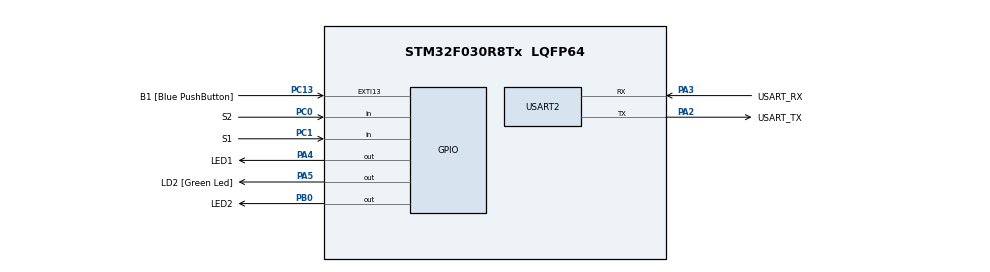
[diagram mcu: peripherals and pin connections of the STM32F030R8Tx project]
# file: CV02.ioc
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Mcu.Family=STM32F0
Mcu.Name=STM32F030R8Tx
Mcu.Package=LQFP64
PA13.GPIO_Label=TMS
PA13.Mode=Serial_Wire
PA13.Signal=SYS_SWDIO
PA14.GPIO_Label=TCK
PA14.Mode=Serial_Wire
PA14.Signal=SYS_SWCLK
PA2.GPIO_Label=USART_TX
PA2.GPIO_Mode=GPIO_MODE_AF_PP
PA2.GPIO_PuPd=GPIO_NOPULL
PA2.GPIO_Speed=GPIO_SPEED_FREQ_LOW
PA2.Mode=Asynchronous
PA2.Signal=USART2_TX
PA3.GPIO_Label=USART_RX
PA3.GPIO_Mode=GPIO_MODE_AF_PP
PA3.GPIO_PuPd=GPIO_NOPULL
PA3.GPIO_Speed=GPIO_SPEED_FREQ_LOW
PA3.Mode=Asynchronous
PA3.Signal=USART2_RX
PA4.GPIO_Label=LED1
PA4.Signal=GPIO_Output
PA5.GPIO_Label=LD2 [Green Led]
PA5.GPIO_Mode=GPIO_MODE_OUTPUT_PP
PA5.GPIO_PuPd=GPIO_NOPULL
PA5.GPIO_Speed=GPIO_SPEED_FREQ_LOW
PA5.Signal=GPIO_Output
PB0.GPIO_Label=LED2
PB0.Signal=GPIO_Output
PC0.GPIO_Label=S2
PC0.GPIO_PuPd=GPIO_PULLUP
PC0.Signal=GPIO_Input
PC1.GPIO_Label=S1
PC1.Signal=GPIO_Input
PC13.GPIO_Label=B1 [Blue PushButton]
PC13.GPIO_ModeDefaultEXTI=GPIO_MODE_IT_FALLING
PC13.Signal=GPXTI13
PC14-OSC32_IN.Mode=LSE-External-Oscillator
PC14-OSC32_IN.Signal=RCC_OSC32_IN
PC15-OSC32_OUT.Mode=LSE-External-Oscillator
PC15-OSC32_OUT.Signal=RCC_OSC32_OUT
PF0-OSC_IN.Mode=HSE-External-Clock-Source
PF0-OSC_IN.Signal=RCC_OSC_IN
PF1-OSC_OUT.Signal=RCC_OSC_OUT
ProjectManager.HeapSize=0x200
ProjectManager.StackSize=0x400
ProjectManager.TargetToolchain=STM32CubeIDE
RCC.AHBFreq_Value=48000000
RCC.APB1Freq_Value=48000000
RCC.APB1TimFreq_Value=48000000
RCC.HCLKFreq_Value=48000000
RCC.PLLMUL=RCC_PLL_MUL12
RCC.SYSCLKFreq_VALUE=48000000
RCC.SYSCLKSource=RCC_SYSCLKSOURCE_PLLCLK
USART2.VirtualMode-Asynchronous=VM_ASYNC
board=NUCLEO-F030R8

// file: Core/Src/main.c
/* USER CODE BEGIN Header */
/**
  ******************************************************************************
  * @file           : main.c
  * @brief          : Main program body
  ******************************************************************************
  * @attention
  *
  * Copyright (c) 2024 STMicroelectronics.
  * All rights reserved.
  *
  * This software is licensed under terms that can be found in the LICENSE file
  * in the root directory of this software component.
  * If no LICENSE file comes with this software, it is provided AS-IS.
  *
  ******************************************************************************
  */
/* USER CODE END Header */
#include "main.h"

/* USER CODE BEGIN PD */

#define LED_TIME_BLINK 300
#define LED_TIME_40MS 40
#define LED_TIME_100MS 100
#define LED_TIME_1000MS 1000

/* USER CODE END PD */

void SystemClock_Config(void);
static void MX_GPIO_Init(void);
static void MX_USART2_UART_Init(void);

/* USER CODE BEGIN 0 */
volatile uint32_t Tick;

void blink(void)
{
	static uint32_t delay;
	if (Tick > delay + LED_TIME_BLINK)
	{
		LL_GPIO_TogglePin(LED1_GPIO_Port, LED1_Pin);
		delay = Tick;
	}
}

void button(void)
{
	static uint32_t delay2;
	static uint32_t off_time;
	if (Tick > delay2 + LED_TIME_40MS)
	{
		static uint32_t old_s2;
		static uint32_t old_s1;
		uint32_t new_s2 = LL_GPIO_IsInputPinSet(S2_GPIO_Port, S2_Pin);
		uint32_t new_s1 = LL_GPIO_IsInputPinSet(S1_GPIO_Port, S1_Pin);
		if (old_s2 && !new_s2)
		{
			off_time = Tick + LED_TIME_100MS;
			LL_GPIO_SetOutputPin(LED2_GPIO_Port, LED2_Pin);
		}
		if (old_s1 && !new_s1)
		{
			off_time = Tick + LED_TIME_1000MS;
			LL_GPIO_SetOutputPin(LED2_GPIO_Port, LED2_Pin);
		}
		old_s1 = new_s1;
		old_s2 = new_s2;
		delay2 = Tick;
	}

	if (Tick > off_time)
	{
		LL_GPIO_ResetOutputPin(LED2_GPIO_Port, LED2_Pin);
	}

	//funkce bude testovat jestli došlo ke změně stavu tlačítka, bude testováno každých 40 ms, pokud bude zjištěna změna že tlačítko bylo stisknuté
	//a není aktuálně stisknuté
}
/* USER CODE END 0 */

int main(void)
{

  /* MCU Configuration--------------------------------------------------------*/

  /* Reset of all peripherals, Initializes the Flash interface and the Systick. */
  LL_APB1_GRP2_EnableClock(LL_APB1_GRP2_PERIPH_SYSCFG);
  LL_APB1_GRP1_EnableClock(LL_APB1_GRP1_PERIPH_PWR);

  /* Configure the system clock */
  SystemClock_Config();

  /* Initialize all configured peripherals */
  MX_GPIO_Init();
  MX_USART2_UART_Init();
  /* USER CODE BEGIN 2 */
  LL_SYSTICK_EnableIT();
  /* USER CODE END 2 */

  /* Infinite loop */
  /* USER CODE BEGIN WHILE */
  while (1){

	blink();
	button();

    /* USER CODE END WHILE */

  }
}

void SystemClock_Config(void)
{
  LL_FLASH_SetLatency(LL_FLASH_LATENCY_1);
  while(LL_FLASH_GetLatency() != LL_FLASH_LATENCY_1)
  {
  }
  LL_RCC_HSI_Enable();

   /* Wait till HSI is ready */
  while(LL_RCC_HSI_IsReady() != 1)
  {

  }
  LL_RCC_HSI_SetCalibTrimming(16);
  LL_RCC_PLL_ConfigDomain_SYS(LL_RCC_PLLSOURCE_HSI_DIV_2, LL_RCC_PLL_MUL_12);
  LL_RCC_PLL_Enable();

   /* Wait till PLL is ready */
  while(LL_RCC_PLL_IsReady() != 1)
  {

  }
  LL_RCC_SetAHBPrescaler(LL_RCC_SYSCLK_DIV_1);
  LL_RCC_SetAPB1Prescaler(LL_RCC_APB1_DIV_1);
  LL_RCC_SetSysClkSource(LL_RCC_SYS_CLKSOURCE_PLL);

   /* Wait till System clock is ready */
  while(LL_RCC_GetSysClkSource() != LL_RCC_SYS_CLKSOURCE_STATUS_PLL)
  {

  }
  LL_Init1msTick(48000000);
  LL_SetSystemCoreClock(48000000);
}

static void MX_USART2_UART_Init(void)
{

  LL_USART_InitTypeDef USART_InitStruct = {0};

  LL_GPIO_InitTypeDef GPIO_InitStruct = {0};

  /* Peripheral clock enable */
  LL_APB1_GRP1_EnableClock(LL_APB1_GRP1_PERIPH_USART2);

  LL_AHB1_GRP1_EnableClock(LL_AHB1_GRP1_PERIPH_GPIOA);
  /**USART2 GPIO Configuration
  PA2   ------> USART2_TX
  PA3   ------> USART2_RX
  */
  GPIO_InitStruct.Pin = USART_TX_Pin;
  GPIO_InitStruct.Mode = LL_GPIO_MODE_ALTERNATE;
  GPIO_InitStruct.Speed = LL_GPIO_SPEED_FREQ_LOW;
  GPIO_InitStruct.OutputType = LL_GPIO_OUTPUT_PUSHPULL;
  GPIO_InitStruct.Pull = LL_GPIO_PULL_NO;
  GPIO_InitStruct.Alternate = LL_GPIO_AF_1;
  LL_GPIO_Init(USART_TX_GPIO_Port, &GPIO_InitStruct);

  GPIO_InitStruct.Pin = USART_RX_Pin;
  GPIO_InitStruct.Mode = LL_GPIO_MODE_ALTERNATE;
  GPIO_InitStruct.Speed = LL_GPIO_SPEED_FREQ_LOW;
  GPIO_InitStruct.OutputType = LL_GPIO_OUTPUT_PUSHPULL;
  GPIO_InitStruct.Pull = LL_GPIO_PULL_NO;
  GPIO_InitStruct.Alternate = LL_GPIO_AF_1;
  LL_GPIO_Init(USART_RX_GPIO_Port, &GPIO_InitStruct);

  USART_InitStruct.BaudRate = 38400;
  USART_InitStruct.DataWidth = LL_USART_DATAWIDTH_8B;
  USART_InitStruct.StopBits = LL_USART_STOPBITS_1;
  USART_InitStruct.Parity = LL_USART_PARITY_NONE;
  USART_InitStruct.TransferDirection = LL_USART_DIRECTION_TX_RX;
  USART_InitStruct.HardwareFlowControl = LL_USART_HWCONTROL_NONE;
  USART_InitStruct.OverSampling = LL_USART_OVERSAMPLING_16;
  LL_USART_Init(USART2, &USART_InitStruct);
  LL_USART_DisableIT_CTS(USART2);
  LL_USART_ConfigAsyncMode(USART2);
  LL_USART_Enable(USART2);

}

static void MX_GPIO_Init(void)
{
  LL_EXTI_InitTypeDef EXTI_InitStruct = {0};
  LL_GPIO_InitTypeDef GPIO_InitStruct = {0};

  /* GPIO Ports Clock Enable */
  LL_AHB1_GRP1_EnableClock(LL_AHB1_GRP1_PERIPH_GPIOC);
  LL_AHB1_GRP1_EnableClock(LL_AHB1_GRP1_PERIPH_GPIOF);
  LL_AHB1_GRP1_EnableClock(LL_AHB1_GRP1_PERIPH_GPIOA);
  LL_AHB1_GRP1_EnableClock(LL_AHB1_GRP1_PERIPH_GPIOB);

  /**/
  LL_GPIO_ResetOutputPin(LED1_GPIO_Port, LED1_Pin);

  /**/
  LL_GPIO_ResetOutputPin(LD2_GPIO_Port, LD2_Pin);

  /**/
  LL_GPIO_ResetOutputPin(LED2_GPIO_Port, LED2_Pin);

  /**/
  LL_SYSCFG_SetEXTISource(LL_SYSCFG_EXTI_PORTC, LL_SYSCFG_EXTI_LINE13);

  /**/
  LL_GPIO_SetPinPull(B1_GPIO_Port, B1_Pin, LL_GPIO_PULL_NO);

  /**/
  LL_GPIO_SetPinMode(B1_GPIO_Port, B1_Pin, LL_GPIO_MODE_INPUT);

  /**/
  EXTI_InitStruct.Line_0_31 = LL_EXTI_LINE_13;
  EXTI_InitStruct.LineCommand = ENABLE;
  EXTI_InitStruct.Mode = LL_EXTI_MODE_IT;
  EXTI_InitStruct.Trigger = LL_EXTI_TRIGGER_FALLING;
  LL_EXTI_Init(&EXTI_InitStruct);

  /**/
  GPIO_InitStruct.Pin = S2_Pin;
  GPIO_InitStruct.Mode = LL_GPIO_MODE_INPUT;
  GPIO_InitStruct.Pull = LL_GPIO_PULL_UP;
  LL_GPIO_Init(S2_GPIO_Port, &GPIO_InitStruct);

  /**/
  GPIO_InitStruct.Pin = S1_Pin;
  GPIO_InitStruct.Mode = LL_GPIO_MODE_INPUT;
  GPIO_InitStruct.Pull = LL_GPIO_PULL_NO;
  LL_GPIO_Init(S1_GPIO_Port, &GPIO_InitStruct);

  /**/
  GPIO_InitStruct.Pin = LED1_Pin;
  GPIO_InitStruct.Mode = LL_GPIO_MODE_OUTPUT;
  GPIO_InitStruct.Speed = LL_GPIO_SPEED_FREQ_LOW;
  GPIO_InitStruct.OutputType = LL_GPIO_OUTPUT_PUSHPULL;
  GPIO_InitStruct.Pull = LL_GPIO_PULL_NO;
  LL_GPIO_Init(LED1_GPIO_Port, &GPIO_InitStruct);

  /**/
  GPIO_InitStruct.Pin = LD2_Pin;
  GPIO_InitStruct.Mode = LL_GPIO_MODE_OUTPUT;
  GPIO_InitStruct.Speed = LL_GPIO_SPEED_FREQ_LOW;
  GPIO_InitStruct.OutputType = LL_GPIO_OUTPUT_PUSHPULL;
  GPIO_InitStruct.Pull = LL_GPIO_PULL_NO;
  LL_GPIO_Init(LD2_GPIO_Port, &GPIO_InitStruct);

  /**/
  GPIO_InitStruct.Pin = LED2_Pin;
  GPIO_InitStruct.Mode = LL_GPIO_MODE_OUTPUT;
  GPIO_InitStruct.Speed = LL_GPIO_SPEED_FREQ_LOW;
  GPIO_InitStruct.OutputType = LL_GPIO_OUTPUT_PUSHPULL;
  GPIO_InitStruct.Pull = LL_GPIO_PULL_NO;
  LL_GPIO_Init(LED2_GPIO_Port, &GPIO_InitStruct);

}

void Error_Handler(void)
{
  __disable_irq();
  while (1)
  {
  }
}
